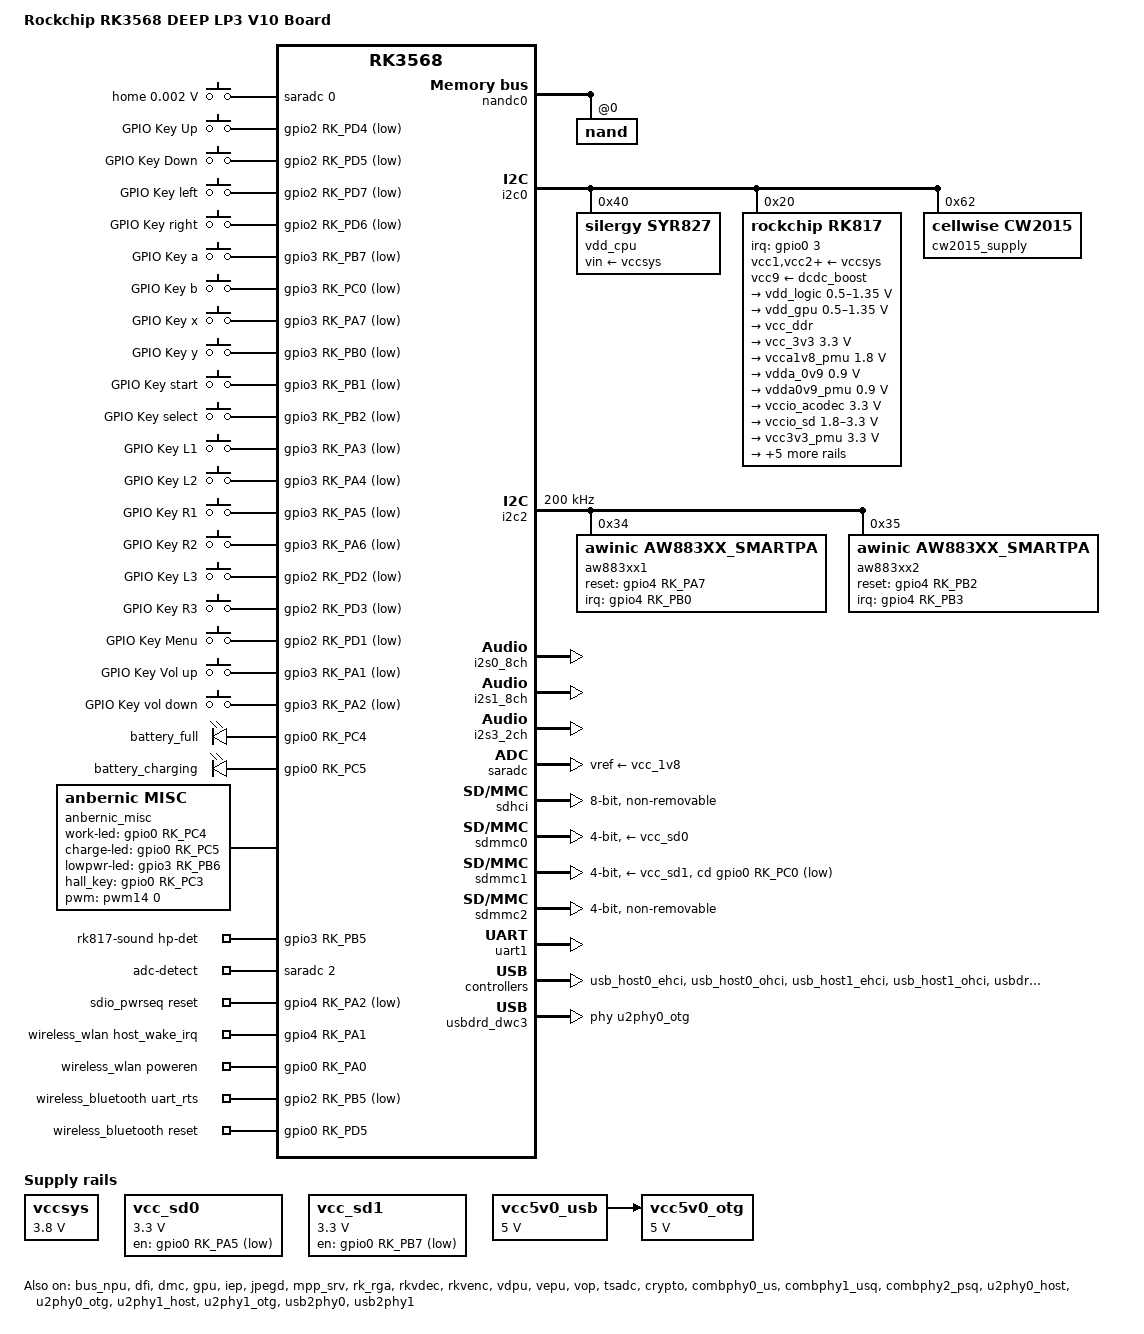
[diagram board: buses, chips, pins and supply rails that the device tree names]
// SPDX-License-Identifier: (GPL-2.0+ OR MIT)
/*
 * Copyright (c) 2026 Rockchip Electronics Co., Ltd.
 *
 */

/dts-v1/;

#include <dt-bindings/gpio/gpio.h>
#include <dt-bindings/pinctrl/rockchip.h>
#include <dt-bindings/input/rk-input.h>
#include <dt-bindings/sensor-dev.h>
#include <dt-bindings/display/drm_mipi_dsi.h>
#include "rk3568.dtsi"
#include "rk3568-linux.dtsi"
#include "rk3568-deep-rg_ds-2mipi.dtsi"
//#include "rk3568-evb.dtsi"

/ {
	model = "Rockchip RK3568 DEEP LP3 V10 Board";
	compatible = "rockchip,rk3568-deep-lp3-v10", "rockchip,rk3568";
	
	/* rewrite bootargs with rk3568-linux.dtsi
	   initcall_debug: 1-enable initcall module print
	*/
	chosen: chosen {
		bootargs = "loglevel=4 initcall_debug=0 earlycon=uart8250,mmio32,0xfe660000 console=ttyFIQ0 root=PARTUUID=614e0000-0000 rw rootwait";
	};
	
#if 0
	rk_headset: rk-headset {
		status = "disabled";  //user delay_work_poll at sound/soc/codec/rk817_codec
		compatible = "rockchip_headset";
		headset_gpio = <&gpio3 RK_PB5 GPIO_ACTIVE_LOW>;
		pinctrl-names = "default";
		pinctrl-0 = <&hp_det>;
	};
#endif

	adc_keys: adc-keys {
		//status = "disabled";
		compatible = "adc-keys";
		io-channels = <&saradc 0>;
		io-channel-names = "buttons";
		keyup-threshold-microvolt = <1800000>;
		poll-interval = <100>;

		vol-up-key {
			label = "home";
			linux,code = <KEY_BACK>;
			//linux,code = <KEY_ESC>; //KEY_F1
			press-threshold-microvolt = <1750>;
		};
	/*
		vol-down-key {
			label = "volume down";
			linux,code = <KEY_VOLUMEDOWN>;
			press-threshold-microvolt = <297500>;
		};
	*/	
	};
#if 0
	gpio_keys: gpio-keys {
		status = "okay";
		compatible = "gpio-keys";
		pinctrl-names = "default";
		pinctrl-0 = <&gpio_hall>;
		hall-key0 {
			wakeup-source;
			gpios = <&gpio0 RK_PC3 GPIO_ACTIVE_LOW>;
			linux,code = <KEY_F12>;
			label = "HALL status";
		};
	};
#endif
	
	gpio-keys-polled {
		compatible = "gpio-keys-polled";
		poll-interval = <20>;
		//autorepeat;

		label = "ANBERNIC-rk3568-keys";
		pinctrl-names = "default";
		pinctrl-0 = <&btn_pins>;

		//io-channel-names = "buttons";
		io-channels = <&saradc 3>;
		
		/* adc mux channel count */
		//amux-count = <4>;
		
		/* 74HC4052 ctrl */
		A1_gpio = <&gpio3 RK_PC2 GPIO_ACTIVE_HIGH>; /*default level*/
		A0_gpio = <&gpio3 RK_PC3 GPIO_ACTIVE_HIGH>;
		amux-en-gpios = <&gpio3 RK_PC1 GPIO_ACTIVE_LOW>;

		/* adc calculate scale */
		button-adc-scale = <1>;

		/* adc deadzone range  */
		//button-adc-deadzone = <640>;

		/*
		  specifies fuzz value that is used to filter noise from
		  the event stream.
		*/
		//button-adc-fuzz = <160>; //32
		button-adc-flat = <32>;

        //abs_x-p-tuning = <250>;
		//abs_x-n-tuning = <250>;
		
		//hall_key = <&gpio0 RK_PC3 GPIO_ACTIVE_HIGH>; //GPIO_ACTIVE_LOW

		keyUP {
			gpios = <&gpio2 RK_PD4 GPIO_ACTIVE_LOW>;
			label = "GPIO Key Up";
			linux,input-type = <EV_ABS>;
			linux,code = <ABS_HAT0Y>;
			linux,abs-value = <2>;
			//linux,input-value = <0xffffffff>; /* -1 */
		};
		keyDOWN {
			gpios = <&gpio2 RK_PD5 GPIO_ACTIVE_LOW>;
			label = "GPIO Key Down";
			linux,input-type = <EV_ABS>;
			linux,code = <ABS_HAT0Y>;
			linux,abs-value = <1>;
			//linux,input-value = <1>;
		};
		keyLeft {
			gpios = <&gpio2 RK_PD7 GPIO_ACTIVE_LOW>;
			label = "GPIO Key left";
			linux,input-type = <EV_ABS>;
			linux,code = <ABS_HAT0X>;
			linux,abs-value = <2>;
		};
		keyRight {
			gpios = <&gpio2 RK_PD6 GPIO_ACTIVE_LOW>;
			label = "GPIO Key right";
			linux,input-type = <EV_ABS>;
			linux,code = <ABS_HAT0X>;
			linux,abs-value = <1>;
		};
		
		keyA {
			gpios = <&gpio3 RK_PB7 GPIO_ACTIVE_LOW>;
			label = "GPIO Key a";
			linux,code = <304>;
			//debounce-interval = <10>;
		};
		keyB {
			gpios = <&gpio3 RK_PC0 GPIO_ACTIVE_LOW>;
			label = "GPIO Key b";
			linux,code = <305>;
		};
		keyX {
			gpios = <&gpio3 RK_PA7 GPIO_ACTIVE_LOW>;
			label = "GPIO Key x";
			linux,code = <307>;
		};
		keyY {
			gpios = <&gpio3 RK_PB0 GPIO_ACTIVE_LOW>;
			label = "GPIO Key y";
			linux,code = <306>;
		};
		
		keyStart {
			gpios = <&gpio3 RK_PB1 GPIO_ACTIVE_LOW>;
			label = "GPIO Key start";
			linux,code = <311>;
		};
		keySEl {
			gpios = <&gpio3 RK_PB2 GPIO_ACTIVE_LOW>;
			label = "GPIO Key select";
			linux,code = <310>;
		};
		
		keyL1 {
			gpios = <&gpio3 RK_PA3 GPIO_ACTIVE_LOW>;
			label = "GPIO Key L1";
			linux,code = <308>;
		};
		keyL2 {
			gpios = <&gpio3 RK_PA4 GPIO_ACTIVE_LOW>;
			label = "GPIO Key L2";
			linux,code = <314>;
		};
		keyR1 {
			gpios = <&gpio3 RK_PA5 GPIO_ACTIVE_LOW>;
			label = "GPIO Key R1";
			linux,code = <309>;
		};
		
		keyR2 {
			gpios = <&gpio3 RK_PA6 GPIO_ACTIVE_LOW>;
			label = "GPIO Key R2";
			linux,code = <315>;
		};
		
		keyL3 {
			gpios = <&gpio2 RK_PD2 GPIO_ACTIVE_LOW>;
			label = "GPIO Key L3";
			linux,code = <313>;
		};
		keyR3 {
			gpios = <&gpio2 RK_PD3 GPIO_ACTIVE_LOW>;
			label = "GPIO Key R3";
			linux,code = <316>;
		};
		keyMenu {
			gpios = <&gpio2 RK_PD1 GPIO_ACTIVE_LOW>;
			label = "GPIO Key Menu";
			linux,code = <312>;
		};
		
		keyVol+ {
			gpios = <&gpio3 RK_PA1 GPIO_ACTIVE_LOW>;
			label = "GPIO Key Vol up";
			linux,code = <115>;//78
		};
		
		keyvol- {
			gpios = <&gpio3 RK_PA2 GPIO_ACTIVE_LOW>;
			label = "GPIO Key vol down";
			linux,code = <114>; //74
		};
	};

	leds: gpio-leds {
		status = "okay";
#if 1 //allen for uboot
		compatible = "uboot-gpio-leds";
#else
        compatible = "gpio-leds";
		pinctrl-names = "default";
		pinctrl-0 =<&leds_gpio>;		
#endif

		work-led {
			gpios = <&gpio0 RK_PC4 GPIO_ACTIVE_HIGH>;
			label = "battery_full"; //uboot read the name
			default-state = "on";
			//linux,default-trigger = "battery-full";
			//retain-state-suspended; //keep state when os sleep
		};
		
		charge-led {
			gpios = <&gpio0 RK_PC5 GPIO_ACTIVE_HIGH>;
			label = "battery_charging"; //uboot read the name
			default-state = "off";
		//	linux,default-trigger = "battery-charging"; //use sh ctr led,so close trigger
			//retain-state-suspended; //keep state when os sleep 2026-0508 del
		};
	#if 0
		low-led {
			gpios = <&gpio3 RK_PB6 GPIO_ACTIVE_HIGH>;
			label = "battery_low";
			default-state = "off";
		//	linux,default-trigger = "timer"; //use sh ctr led,so close trigger
		//	linux,default-trigger = "heartbeat";
		};
	#endif
    };

	anbernic_misc {
		compatible   = "anbernic,misc";
		status       = "okay";
		pinctrl-names = "default";
		
	#if 1 //allen for uboot
		pinctrl-0 =<&leds_gpio &gpio_hall>;
		
		/* leds: gpio-leds need set  status = "disabled" */
		work-led-gpios   = <&gpio0 RK_PC4 GPIO_ACTIVE_HIGH>;
		charge-led-gpios = <&gpio0 RK_PC5 GPIO_ACTIVE_HIGH>;
		lowpwr-led-gpios = <&gpio3 RK_PB6 GPIO_ACTIVE_HIGH>;
	#else
		pinctrl-0 = <&gpio_hall>;
		
		/* gpio-leds don't add trigger */
		work-led-supply   = <&gpio0 RK_PC4 GPIO_ACTIVE_HIGH>;
		charge-led-supply = <&gpio0 RK_PC5 GPIO_ACTIVE_HIGH>;
		lowpwr-led-gpios  = <&gpio3 RK_PB6 GPIO_ACTIVE_HIGH>;
	#endif	
		//mcu_pwr_ctrl = <&pio PI 10 GPIO_ACTIVE_HIGH>;
		//rgb_led_pwr  = <&portb 4 GPIO_ACTIVE_HIGH>; /*gpio36*/
		
		hall_key = <&gpio0 RK_PC3 GPIO_ACTIVE_HIGH>; //GPIO_ACTIVE_LOW
		
		det_usb_supply = <&charger>;
		det_gauge0_supply = <&battery>;
		det_gauge1_supply = <&cw2015_supply>;
		
		pwms = <&pwm14 0 1000000 0>; /*moto: period in ns; fs=10^6/p (khz)*/
	}; 
	
	charge-animation {
		compatible = "rockchip,uboot-charge";
		rockchip,uboot-charge-on = <1>; /*1-enable uboot charge */
		rockchip,android-charge-on = <0>;
		rockchip,uboot-low-power-voltage = <3600>; //3350 force to charging,don't run os
		rockchip,screen-on-voltage = <3650>; //3400
    #if 1 //for charge led
		rockchip,auto-wakeup-interval = <300>; //second
		rockchip,auto-wakeup-screen-invert = <0>;
	#endif
		rockchip,uboot-exit-charge-level = <6>; // enable run os > 2%
		rockchip,uboot-exit-charge-voltage = <3750>; //3600 enable run os > 3.6v
		rockchip,uboot-exit-charge-auto = <0>;
		status = "okay";
	};

	hdmi_sound: hdmi-sound {
		compatible = "simple-audio-card";
		simple-audio-card,format = "i2s";
		simple-audio-card,mclk-fs = <128>;
		simple-audio-card,name = "rockchip,hdmi";
		status = "disabled";

		simple-audio-card,cpu {
				sound-dai = <&i2s0_8ch>;
		};
		simple-audio-card,codec {
				sound-dai = <&hdmi>;
		};
	};

	vccsys: vccsys {
		compatible = "regulator-fixed";
		regulator-name = "vcc3v8_sys";
		regulator-always-on;
		regulator-boot-on;
		regulator-min-microvolt = <3800000>;
		regulator-max-microvolt = <3800000>;
	};
#if 0
	vcc_wifi: vcc-wifi {
		compatible = "regulator-fixed";
		enable-active-high;
		regulator-always-on;
		regulator-boot-on;		
		enable-gpio = <&gpio0 RK_PA0 GPIO_ACTIVE_HIGH>;
		regulator-min-microvolt = <3300000>;
		regulator-max-microvolt = <3300000>;
		states = <3300000 0x0
			3300000 0x1>;
		pinctrl-names = "default";
		pinctrl-0 = <&vcc_wifi_h>;
		regulator-name = "vcc_wifi";
	};
//#else	
    //vcc_wifi or WIFI,poweren_gpio 2 select 1
	vcc_wifi: vcc-wifi {
		compatible = "regulator-fixed";
		regulator-name = "vcc_wifi";
		//pinctrl-names = "default";
		//pinctrl-0 = <&vcc_wifi_h>;
		gpio = <&gpio0 RK_PA0 GPIO_ACTIVE_HIGH>;
		enable-active-high;
		regulator-boot-on;
		regulator-state-mem {
			//regulator-off-in-suspend;
			regulator-on-in-suspend;
		};
	};
#endif

#if 0 //for xa8603
	vcc_tp: vcc-tp {
		compatible = "regulator-fixed";
		regulator-name = "vcc_tp";
		//pinctrl-names = "default"; //close this,if no note use vcc_tp 
		//pinctrl-0 = <&vcc_tp_en>;
		gpio = <&gpio0 RK_PC6 GPIO_ACTIVE_HIGH>;
		enable-active-high;
		regulator-boot-on;
		regulator-always-on;
		regulator-state-mem {
			//regulator-off-in-suspend;
			regulator-on-in-suspend;
		};
	};
#endif
	
	rk817-sound {
		//status = "disabled";
		status = "okay";
#if 1 //new
		compatible = "rockchip,multicodecs-card";
		rockchip,card-name = "rockchip-rk817";
		hp-jack-enable = <0>; //pulseaudio
		hp-det-gpio = <&gpio3 RK_PB5 GPIO_ACTIVE_HIGH>;//hp-det-gpios 2 select 1
		io-channels = <&saradc 2>;
		io-channel-names = "adc-detect";
		keyup-threshold-microvolt = <1800000>;
		poll-interval = <100>;
		rockchip,format = "i2s";
		rockchip,mclk-fs = <256>;
		rockchip,cpu = <&i2s1_8ch>;
		rockchip,codec = <&rk817_codec>;
		pinctrl-names = "default";
		pinctrl-0 = <&hp_det>;
		play-pause-key {
			label = "playpause";
			linux,code = <KEY_PLAYPAUSE>;
			press-threshold-microvolt = <2000>;
		};
#else //No audio output,why?
		pinctrl-names = "default";
		pinctrl-0 = <&hp_det>;
		compatible = "simple-audio-card";
        simple-audio-card,format = "i2s";
        simple-audio-card,name = "rockchip,rk817-codec";
        simple-audio-card,mclk-fs = <256>;
		simple-audio-card,cpu {
                sound-dai = <&i2s1_8ch>;
        };
        simple-audio-card,codec {
                sound-dai = <&rk817_codec>;
        };
#endif
	};

	aw883xx_sound: aw883x-sound {
		status = "okay";
		compatible = "rockchip,multicodecs-card";
		rockchip,card-name = "rockchipaw883xx";
		rockchip,format = "i2s";
		rockchip,mclk-fs = <256>;
		rockchip,cpu = <&i2s3_2ch>;
		rockchip,codec = <&aw883xx1 &aw883xx2>;
    };
	

	//vibrator {
	//	compatible = "rk-vibrator-gpio";
	//	vibrator-gpio = <&gpio3 RK_PC4 GPIO_ACTIVE_HIGH>;
	//	status = "okay";
	//};
	
	sdio_pwrseq: sdio-pwrseq {
		compatible = "mmc-pwrseq-simple";
//		clocks = <&rk817 1>; //20260113 del
//		clock-names = "ext_clock"; //20260113 del
		pinctrl-names = "default";
		pinctrl-0 = <&wifi_enable_h>; //->WIFI_REG_ON_H

		/*
		 * On the module itself this is one of these (depending
		 * on the actual card populated):
		 * - SDIO_RESET_L_WL_REG_ON
		 * - PDN (power down when low)
		 */
		post-power-on-delay-ms = <200>;
		reset-gpios = <&gpio4 RK_PA2 GPIO_ACTIVE_LOW>;
	};

	vcc_sd0: vcc-sd0 {
		compatible = "regulator-gpio";
		enable-active-low;
		enable-gpio = <&gpio0 RK_PA5 GPIO_ACTIVE_LOW>;
		regulator-min-microvolt = <3300000>;
		regulator-max-microvolt = <3300000>;
		pinctrl-names = "default";
		pinctrl-0 = <&vcc_sd0_h>;
		regulator-name = "vcc_sd0";
		states = <3300000 0x0
			3300000 0x1>;
		regulator-boot-on;
		regulator-always-on;
	};
	
#if 0 //sleep don't off
	vcc_sd1: vcc-sd1 {
		compatible = "regulator-fixed";
		enable-active-low;
		enable-gpio = <&gpio0 RK_PB7 GPIO_ACTIVE_LOW>;
		pinctrl-names = "default";
		pinctrl-0 = <&vcc_sd1_h>;
		regulator-name = "vcc_sd1";
		regulator-min-microvolt = <3300000>;
		regulator-max-microvolt = <3300000>;
		startup-delay-us = <100000>;
		vin-supply = <&vccsys>;
	};
#else
	vcc_sd1: vcc-sd1 {
		compatible = "regulator-gpio";
		enable-active-low;
		enable-gpio = <&gpio0 RK_PB7 GPIO_ACTIVE_LOW>;
		regulator-min-microvolt = <3300000>;
		regulator-max-microvolt = <3300000>;
		
		pinctrl-names = "default";
		pinctrl-0 = <&vcc_sd1_h>;
		regulator-name = "vcc_sd1";
		
		states = <3300000 0x0
			3300000 0x1>;
	};
#endif

	wireless_wlan: wireless-wlan {
		compatible = "wlan-platdata";
		rockchip,grf = <&grf>;
		wifi_chip_type = "ap6330";
		pinctrl-names = "default"; //20260113 add start
		pinctrl-0 = <&wifi_host_wake_irq>;
		WIFI,host_wake_irq = <&gpio4 RK_PA1 GPIO_ACTIVE_HIGH>;
		WIFI,poweren_gpio = <&gpio0 RK_PA0 GPIO_ACTIVE_HIGH>; /* suspend:set 0,resume set 1 */
		keep_wifi_power_on; //->wifi_power_remain=1 20260113 add end
		status = "okay";
	};

	wireless_bluetooth: wireless-bluetooth {
		compatible = "bluetooth-platdata";
		bt_port = "/dev/ttyS1";
		clocks = <&rk817 1>;
		clock-names = "ext_clock";
		//wifi-bt-power-toggle;
		uart_rts_gpios = <&gpio2 RK_PB5 GPIO_ACTIVE_LOW>;
		pinctrl-names = "default", "rts_gpio";
		pinctrl-0 = <&uart1m1_rtsn>;
		pinctrl-1 = <&uart1_gpios>;
		BT,reset_gpio    = <&gpio0 RK_PD5 GPIO_ACTIVE_HIGH>;
		//BT,wake_gpio     = <&gpio0 RK_PD3 GPIO_ACTIVE_HIGH>;
		//BT,wake_host_irq = <&gpio0 RK_PD4 GPIO_ACTIVE_HIGH>;
		status = "okay";
		//status = "disabled";
	};

	vcc5v0_usb: vcc5v0-usb {
		compatible = "regulator-fixed";
		regulator-name = "vcc5v0_usb";
		regulator-always-on;
		regulator-boot-on;
		regulator-min-microvolt = <5000000>;
		regulator-max-microvolt = <5000000>;
	//	vin-supply = <&vcc12v_dcin>;
	};
	
	vcc5v0_otg: vcc5v0-otg-regulator {
		compatible = "regulator-fixed";
		regulator-name = "vcc5v0_otg";
		regulator-min-microvolt = <5000000>;
		regulator-max-microvolt = <5000000>;
		enable-active-high;
	//	gpio = <&gpio3 RK_PB7 GPIO_ACTIVE_HIGH>;
		vin-supply = <&vcc5v0_usb>;
	//	pinctrl-names = "default";
	//	pinctrl-0 = <&vcc5v0_otg_en>;
	};
};

&bus_npu {
	bus-supply = <&vdd_logic>;
	pvtm-supply = <&vdd_cpu>;
	status = "okay";
};

&cpu0 {
	cpu-supply = <&vdd_cpu>;
};

&dfi {
	status = "okay";
};

&dmc {
	center-supply = <&vdd_logic>;
	status = "okay";
};

&gpu {
	mali-supply = <&vdd_gpu>;
	status = "okay";
};

&iep {
	status = "okay";
};

&iep_mmu {
	status = "okay";
};

&jpegd {
	status = "okay";
};

&jpegd_mmu {
	status = "okay";
};

&mpp_srv {
	status = "okay";
};

//&sfc {
//	status = "okay";
//};

&nandc0 {
	#address-cells = <1>;
	#size-cells = <0>;
	status = "okay";

	nand@0 {
		reg = <0>;
		nand-bus-width = <8>;
		nand-ecc-mode = "hw";
		nand-ecc-strength = <16>;
		nand-ecc-step-size = <1024>;
	};
};

&rk_rga {
	status = "okay";
};

&rkvdec {
	status = "okay";
};

&rkvdec_mmu {
	status = "okay";
};

&rkvenc {
	//venc-supply = <&vdd_logic>;
	status = "okay";
};

&rkvenc_mmu {
	status = "okay";
};
#if 0
&rknpu {
	rknpu-supply = <&vdd_gpu>;
	status = "okay";
};

&rknpu_mmu {
	status = "okay";
};
#endif

&vdpu {
	status = "okay";
};

&vdpu_mmu {
	status = "okay";
};

&vepu {
	status = "okay";
};

&vepu_mmu {
	status = "okay";
};

&vop {
	status = "okay";
	assigned-clocks = <&cru DCLK_VOP0>, <&cru DCLK_VOP1>;
	assigned-clock-parents = <&pmucru PLL_HPLL>, <&cru PLL_VPLL>;
	vop-supply = <&vdd_logic>;
};

&vop_mmu {
	status = "okay";
};

&i2c0 {
	status = "okay";
#if 1//allen
	vdd_cpu: sti8070a@40 {
		compatible = "silergy,syr827";
		reg = <0x40>;
		vin-supply = <&vccsys>;
		regulator-compatible = "fan53555-reg";
		regulator-name = "vdd_cpu";
		regulator-min-microvolt = <712500>;
		regulator-max-microvolt = <1390000>;
		regulator-init-microvolt = <1000000>;
		regulator-ramp-delay = <2300>;
		fcs,suspend-voltage-selector = <1>; //0->1
		//regulator-initial-mode = <0x2>;
		regulator-boot-on;
		regulator-always-on;
		regulator-state-mem {
		#if 1
			regulator-off-in-suspend;
		#else
			regulator-on-in-suspend;
			regulator-suspend-microvolt = <1100000>;
			regulator-changeable-in-suspend;
		#endif
		};
	};
#else
	vdd_cpu: STI8070A@40 {
		compatible = "tmi,sti8070a";//"silergy,syr827";
		reg = <0x40>;
		vin-supply = <&vccsys>;
		regulator-compatible = "fan53555-reg";
		regulator-name = "vdd_cpu";
		regulator-min-microvolt = <712500>;//datesheet mini=0.72v,cpu_vdd hight,so set 0.7125
		regulator-max-microvolt = <1500000>;
		regulator-init-microvolt = <900000>;
		regulator-ramp-delay = <1000>;
		fcs,suspend-voltage-selector = <1>;//at sleep vsel pin=1,set 1(0: VSEL0 register, 1: VSEL1 register)
		regulator-boot-on;
		regulator-always-on;
		regulator-state-mem {
			regulator-off-in-suspend;
		};
	};
#endif

	rk817: pmic@20 {
		compatible = "rockchip,rk817";
		reg = <0x20>;
		interrupt-parent = <&gpio0>;
		interrupts = <3 IRQ_TYPE_LEVEL_LOW>;

		pinctrl-names = "default", "pmic-sleep",
				"pmic-power-off", "pmic-reset";
		pinctrl-0 = <&pmic_int>;
		pinctrl-1 = <&soc_slppin_slp>, <&rk817_slppin_slp>;
		pinctrl-2 = <&soc_slppin_gpio>, <&rk817_slppin_pwrdn>;
		pinctrl-3 = <&soc_slppin_gpio>, <&rk817_slppin_rst>;
		
		rockchip,system-power-controller;
		wakeup-source;
		#clock-cells = <1>;
		clock-output-names = "rk808-clkout1", "rk808-clkout2";
		//fb-inner-reg-idxs = <2>;
		/* 1: rst regs (default in codes), 0: rst the pmic */
		pmic-reset-func = <0>;
		/* not save the PMIC_POWER_EN register in uboot */
		not-save-power-en = <1>;
		vcc1-supply = <&vccsys>;
		vcc2-supply = <&vccsys>;
		vcc3-supply = <&vccsys>;
		vcc4-supply = <&vccsys>;
		vcc5-supply = <&vccsys>;
		vcc6-supply = <&vccsys>;
		vcc7-supply = <&vccsys>;
		vcc8-supply = <&vccsys>;
		vcc9-supply = <&dcdc_boost>;

		pwrkey {
			status = "okay";
		};

		pinctrl_rk8xx: pinctrl_rk8xx {
			gpio-controller;
			#gpio-cells = <2>;

			rk817_slppin_null: rk817_slppin_null {
				pins = "gpio_slp";
				function = "pin_fun0";
			};

			rk817_slppin_slp: rk817_slppin_slp {
				pins = "gpio_slp";
				function = "pin_fun1";
			};

			rk817_slppin_pwrdn: rk817_slppin_pwrdn {
				pins = "gpio_slp";
				function = "pin_fun2";
			};

			rk817_slppin_rst: rk817_slppin_rst {
				pins = "gpio_slp";
				function = "pin_fun3";
			};
		};

		regulators {
			vdd_logic: DCDC_REG1 {
				regulator-always-on;
				regulator-boot-on;
				regulator-min-microvolt = <500000>;
				regulator-max-microvolt = <1350000>;
				regulator-init-microvolt = <900000>;
				regulator-ramp-delay = <6001>;
				regulator-initial-mode = <0x2>;
				regulator-name = "vdd_logic";
				regulator-state-mem {
					regulator-off-in-suspend;
					regulator-suspend-microvolt = <900000>;
				};
			};

			vdd_gpu: DCDC_REG2 {
				regulator-always-on;
				regulator-boot-on;
				regulator-min-microvolt = <500000>;
				regulator-max-microvolt = <1350000>;
				regulator-init-microvolt = <900000>;
				regulator-ramp-delay = <6001>;
				regulator-initial-mode = <0x2>;
				regulator-name = "vdd_gpu";
				regulator-state-mem {
					regulator-off-in-suspend;
				};
			};

			vcc_ddr: DCDC_REG3 {
				regulator-always-on;
				regulator-boot-on;
				regulator-initial-mode = <0x2>;
				regulator-name = "vcc_ddr";
				regulator-state-mem {
					regulator-on-in-suspend;
				};
			};

			vcc_3v3: DCDC_REG4 {
				regulator-always-on;
				regulator-boot-on;
				regulator-min-microvolt = <3300000>;
				regulator-max-microvolt = <3300000>;
				regulator-initial-mode = <0x2>;
				regulator-name = "vcc_3v3";
				regulator-state-mem {
					regulator-on-in-suspend;
					regulator-suspend-microvolt = <3300000>;
				};
			};

			vcca1v8_pmu: LDO_REG1 {
				regulator-always-on;
				regulator-boot-on;
				regulator-min-microvolt = <1800000>;
				regulator-max-microvolt = <1800000>;
				regulator-name = "vcca1v8_pmu";
				regulator-state-mem {
					regulator-on-in-suspend;
					regulator-suspend-microvolt = <1800000>;
				};
			};

			vdda_0v9: LDO_REG2 {
				regulator-always-on;
				regulator-boot-on;
				regulator-min-microvolt = <900000>;
				regulator-max-microvolt = <900000>;
				regulator-name = "vdda_0v9";
				regulator-state-mem {
					regulator-off-in-suspend;
				};
			};

			vdda0v9_pmu: LDO_REG3 {
				regulator-always-on;
				regulator-boot-on;
				regulator-min-microvolt = <900000>;
				regulator-max-microvolt = <900000>;
				regulator-name = "vdda0v9_pmu";
				regulator-state-mem {
					regulator-on-in-suspend;
					regulator-suspend-microvolt = <900000>;
				};
			};

			vccio_acodec: LDO_REG4 {
				regulator-always-on;
				regulator-boot-on;
				regulator-min-microvolt = <3300000>;
				regulator-max-microvolt = <3300000>;
				regulator-name = "vccio_acodec";
				regulator-state-mem {
					regulator-off-in-suspend;
				};
			};

			vccio_sd: LDO_REG5 {
				regulator-always-on;
				regulator-boot-on;
				regulator-min-microvolt = <1800000>;
				regulator-max-microvolt = <3300000>;
				regulator-name = "vccio_sd";
				regulator-state-mem {
					regulator-off-in-suspend;
				};
			};

			vcc3v3_pmu: LDO_REG6 {
				regulator-always-on;
				regulator-boot-on;
				regulator-min-microvolt = <3300000>;
				regulator-max-microvolt = <3300000>;
				regulator-name = "vcc3v3_pmu";
				regulator-state-mem {
					regulator-on-in-suspend;
					regulator-suspend-microvolt = <3000000>;
				};
			};

			vcc_1v8: LDO_REG7 {
				regulator-always-on;
				regulator-boot-on;
				regulator-min-microvolt = <1800000>;
				regulator-max-microvolt = <1800000>;
				regulator-name = "vcc_1v8";
				regulator-state-mem {
					regulator-on-in-suspend;
				};
			};

			vcc1v8_dvp: LDO_REG8 {
				regulator-always-on;
				regulator-boot-on;
				regulator-min-microvolt = <1800000>;
				regulator-max-microvolt = <3300000>;
				regulator-name = "vcc1v8_dvp";
				regulator-state-mem {
					regulator-off-in-suspend;
				};
			};

			vcc2v8_dvp: LDO_REG9 {
				regulator-always-on;
				regulator-boot-on;
				regulator-min-microvolt = <2800000>;
				regulator-max-microvolt = <2800000>;
				regulator-name = "vcc2v8_dvp";
				regulator-state-mem {
					regulator-off-in-suspend;
				};
			};

			dcdc_boost: BOOST {
				regulator-always-on;
				regulator-boot-on;
				regulator-min-microvolt = <5000000>;
				regulator-max-microvolt = <5000000>;
				regulator-name = "boost";
				regulator-state-mem {
					regulator-off-in-suspend;
				};
			};

			otg_switch: OTG_SWITCH {
				regulator-name = "otg_switch";
				regulator-state-mem {
					regulator-off-in-suspend;
				};
			};
		};

		simple_battery: simple-battery {
			compatible = "simple-battery";
			charge-full-design-microamp-hours = <2500000>;//uah
			precharge-current-microamp = <180000>;
			precharge-upper-limit-microvolt = <3600000>;
			charge-term-current-microamp = <300000>;
			constant-charge-current-max-microamp = <10000000>;
			constant-charge-voltage-max-microvolt = <4350000>;
			factory-internal-resistance-micro-ohms = <80>;
			voltage-max-design-microvolt = <4350000>;
			voltage-min-design-microvolt = <3000000>;
		};

		battery:battery {
			compatible = "rk817,battery";
	#if 1 //old
			ocv_table = <3400 3663 3677 3707 3731 3749 3761 3772 3786
                         3803 3826 3861 3908 3947 3978 4039 4083 4136
                         4191 4251 4338>;
			bat_res = <69>;//69 100R
	#else
			ocv_table = <3560 3672 3694 3719 3743 3760 3776 3791 3806
                         3823 3845 3873 3908 3946 3991 4039 4087 4138
                         4193 4254 4330>;
			bat_res = <105>;//69 100R
	#endif
			design_capacity = <4247>;
			design_qmax = <4247>;//5500 design_capacity*1.1
			sleep_enter_current = <300>; //150
			sleep_exit_current = <300>; //180
			sleep_filter_current = <100>;
			power_off_thresd = <3400>; //3500->vsys,don't vbat
			zero_algorithm_vol = <3950>;//4.2v bat-3850 4.3v-3950
			max_soc_offset = <60>;
			monitor_sec = <5>; //poll time:5s
			sample_res = <10>;//10R
			virtual_power = <0>;
		    status = "okay";
		};

		charger:charger {
			compatible = "rk817,charger";
			min_input_voltage = <4500>;
			max_input_current = <3000>;	/* ROCKNIX parity (was 1500); needs a 5V/3A+ charger */
			max_chrg_current = <3500>;	/* ROCKNIX parity (was 2000); RK817 hardware max */
			max_chrg_voltage = <4400>;//4350-4.35v
			sample_res = <10>;//10R
			otg5v_suspend_enable = <1>;
			chrg_term_mode = <1>;
			chrg_finish_cur = <100>; //200
			virtual_power = <0>;
			dc_det_adc = <0>;//1-check dc in/out
			extcon = <&usb2phy0>; //close then otg no power
			//gate_function_disable = <1>;
			status = "okay";
		};

		rk817_codec: codec {
			#sound-dai-cells = <0>;
			compatible = "rockchip,rk817-codec";
			clocks = <&cru I2S1_MCLKOUT>;
			clock-names = "mclk";
			assigned-clocks = <&cru I2S1_MCLKOUT>, <&cru I2S1_MCLK_TX_IOE>;
			assigned-clock-rates = <12288000>;
			assigned-clock-parents = <&cru I2S1_MCLKOUT_TX>, <&cru I2S1_MCLKOUT_TX>;
			pinctrl-names = "default";
			pinctrl-0 = <&i2s1m0_mclk>;
			hp-volume = <23>;
			spk-volume = <16>; //0:0db 255:-95db 10:-3.75db (0.375db/step)
			mic-in-differential;
			use-ext-amplifier;
			//out-l2spk-r2hp;
			//hp-det-gpios = <&gpio3 RK_PB5 GPIO_ACTIVE_HIGH>; //GPIO_ACTIVE_LOW
			//io-channels = <&saradc 2>;
			//io-channel-names = "adc-detect";
			//keyup-threshold-microvolt = <1800000>;
			//poll-interval = <100>;
		
			//spk-ctl-gpios = <&gpio3 RK_PB3 GPIO_ACTIVE_HIGH>;
			status = "okay";
		};
	};
	
	cw2015_supply:cw2015@62 { 

		compatible = "cellwise,cw2015";
		reg = <0x62>;
#if 0 //old
		cellwise,battery-profile = /bits/ 8
				<0x17 0x67 0x81 0x6F 0x69 0x65 0x63 0x54
				 0x75 0x50 0x57 0x56 0x4E 0x4F 0x44 0x35
				 0x2C 0x24 0x1E 0x1B 0x24 0x32 0x41 0x4D
				 0x1C 0x57 0x0B 0x85 0x34 0x54 0x59 0x6D
				 0x85 0x81 0x81 0x84 0x3C 0x1B 0x6C 0x6C
				 0x0B 0x41 0x1C 0x4D 0x80 0x95 0xA0 0x14
				 0x38 0x7E 0x98 0xA3 0x80 0x89 0x97 0xCB
				 0x2F 0x00 0x64 0xA5 0xB5 0xC1 0x46 0xAE>;
#else
		cellwise,battery-profile = /bits/ 8
				<0x17 0x67 0x80 0x6E 0x68 0x64 0x61 0x55
				 0x71 0x53 0x54 0x56 0x4F 0x4E 0x46 0x38
				 0x2D 0x25 0x20 0x1B 0x20 0x29 0x3B 0x49
				 0x3A 0x15 0x0D 0x91 0x3E 0x5F 0x5E 0x76
				 0x80 0x7D 0x80 0x81 0x3B 0x1A 0x6C 0x6C
				 0x0B 0x41 0x1C 0x4D 0x80 0x95 0xA0 0x14
				 0x38 0x7E 0x98 0xA3 0x80 0x8A 0x9D 0xCB
				 0x2F 0x00 0x64 0xA5 0xB5 0xC1 0x46 0xAE>;
#endif				 
		cellwise,monitor-interval-ms = <3000>; //5000
		cellwise,battery_cap = <4247>; //-> design_capacity
		monitored-battery = <&simple_battery>;
		battery_id = <0>;
		status = "okay";
	};
#if 0	
	xa8601_0: xa8601-0@48 {
		compatible = "Torch,xa8601_ts";
		reg = <0x48>;
		touch-gpio = <&gpio0 RK_PA6 1>; //tp_irq
		max-x = <1024>;
		max-y = <768>;
		pinctrl-names = "default";
		pinctrl-0 = <&touch0_xa8601_gpio>;
		status = "okay"; //"disabled";
		//rockchip,panel-notifier = <&dsi0_panel>;
	};

	deeplay@3c {
		compatible = "deeplay,umido";
		reg = <0x3c>;
		//pinctrl-names = "default";
		status = "okay";
	};
#endif
};

&i2c2 {
	status = "okay";
	pinctrl-0 = <&i2c2m1_xfer>;

	clock-frequency = <200000>; //allen add,default 100khz
	i2c-scl-rising-time-ns = <144>;
	i2c-scl-falling-time-ns = <4>;

	aw883xx1:aw883xx_smartpa@34 {
		compatible = "awinic,aw883xx_smartpa";
		#sound-dai-cells = <0>;
		reg = <0x34>;
		reset-gpio= <&gpio4 RK_PA7 0>; 
		irq-gpio= <&gpio4 RK_PB0 0>;
		
		//sync-load = <1>; //ko need this
		
		re-min = <1000>;
		re-max = <40000>;
		sound-channel = <0>;
		
		clocks = <&cru I2S3_MCLKOUT_TX>;
		clock-names = "mclk";
		assigned-clocks = <&cru CLK_I2S3_2CH_TX>;
		assigned-clock-rates = <12288000>;
		pinctrl-names = "default";
		pinctrl-0 = <&i2s3m1_mclk>;
	};

	aw883xx2:aw883xx_smartpa@35 {
		compatible = "awinic,aw883xx_smartpa";
		#sound-dai-cells = <0>;
		reg = <0x35>;
		reset-gpio= <&gpio4 RK_PB2 0>; 
		irq-gpio= <&gpio4 RK_PB3 0>; 
		
		//sync-load = <1>; //ko need this
		
		re-min = <1000>; 
		re-max = <40000>;
		sound-channel = <1>;
		clocks = <&cru I2S3_MCLKOUT_TX>;
		clock-names = "mclk";
		assigned-clocks = <&cru CLK_I2S3_2CH_TX>;
		assigned-clock-rates = <12288000>;
 	};

	aw87391_pa_l: aw87391@58 {
		compatible = "aw,aw87391-left";
		reg = <0x58>;
		status = "disabled";
	};
	aw87391_pa_r: aw87391@5b {
		compatible = "aw,aw87391-right";
		reg = <0x5b>;
		status = "disabled";
	};

	icm42607_acc: icm_acc@68 {
		//status = "okay";
		status = "disabled";
		compatible = "icm42607_acc";
		reg = <0x68>;
		irq-gpio = <&gpio0 RK_PD6 IRQ_TYPE_EDGE_RISING>;
		irq_enable = <0>;
		poll_delay_ms = <30>;
		type = <SENSOR_TYPE_ACCEL>;
		layout = <5>;
	};

	icm42607_gyro: icm_gyro@68 {
		//status = "okay";
		status = "disabled";
		compatible = "icm42607_gyro";
		reg = <0x68>;
		poll_delay_ms = <30>;
		type = <SENSOR_TYPE_GYROSCOPE>;
		layout = <5>;
	};

#if 0
	hynitron: hynitron@5a {
		compatible = "hyn,3240";
		reg = <0x5a>;
		/*
		 * power-supply should switche to vcc3v3_lcd1_n
		 * when mipi panel is connected to dsi1.
		 */
		power-supply = <&vcc3v3_lcd_n>;

		pinctrl-names = "ts_active","ts_suspend";
		pinctrl-0 = <&ts_int_active &ts_reset_active>;
		pinctrl-1 = <&ts_int_suspend &ts_reset_suspend>;

		reset-gpios = <&gpio0 RK_PB0 GPIO_ACTIVE_HIGH>;
		irq-gpios = <&gpio0 RK_PA7 GPIO_ACTIVE_LOW>;

		max-touch-number = <5>;
		display-coords = <0 0 1080 1920>;
		pos-swap = <0>;
		posx-reverse = <0>;
		posy-reverse = <0>;
	};
#endif
};

&i2s0_8ch {
	status = "okay";
};

&i2s1_8ch {
	status = "okay";
	rockchip,trcm-sync-tx-only;
	pinctrl-names = "default";
	pinctrl-0 = <&i2s1m0_sclktx
		     &i2s1m0_lrcktx
		     &i2s1m0_sdi0
		     &i2s1m0_sdo0>;
};

&i2s3_2ch {
	status = "okay";
	rockchip,always-on;
	rockchip,trcm-sync-tx-only;
	i2s-lrck-gpio = <&gpio4 RK_PC4 GPIO_ACTIVE_HIGH>; /* i2s3m1_lrck */
	pinctrl-names = "default";
	pinctrl-0 = <&i2s3m1_sclk
		     &i2s3m1_lrck  
		     &i2s3m1_sdi
		     &i2s3m1_sdo>;
};

&pinctrl {
	headphone {
		hp_det: hp-det {
			rockchip,pins = <3 RK_PB5 RK_FUNC_GPIO &pcfg_pull_none>; //hp_det
		};
	};
/*	
	tp {
		touch0_xa8601_gpio: touch0-xa8601-gpio {
			rockchip,pins = <0 RK_PA6 RK_FUNC_GPIO &pcfg_pull_up>;		
		};

		vcc_tp_en: vcc-tp-en {
			rockchip,pins = <0 RK_PC6 RK_FUNC_GPIO &pcfg_pull_none>;				
		};			
	};
*/	
	pmic {
		pmic_int: pmic_int {
			rockchip,pins =
				<0 RK_PA3 RK_FUNC_GPIO &pcfg_pull_up>;
		};

		soc_slppin_gpio: soc_slppin_gpio {
			rockchip,pins =
				<0 RK_PA2 RK_FUNC_GPIO &pcfg_output_low>; //pcfg_output_low_pull_down
		};

		soc_slppin_slp: soc_slppin_slp {
			rockchip,pins =
				<0 RK_PA2 1 &pcfg_pull_none>;
		};

		soc_slppin_rst: soc_slppin_rst {
			rockchip,pins =
				<0 RK_PA2 2 &pcfg_pull_none>;
		};
	};

	sensor {
		sensor_gpio: sensor-gpio {
			rockchip,pins = <0 RK_PD6 RK_FUNC_GPIO &pcfg_pull_none>;
		};
	};

	sdio-pwrseq {
		wifi_enable_h: wifi-enable-h {
			rockchip,pins = <4 RK_PA2 RK_FUNC_GPIO &pcfg_pull_none>;
		};
	};

	vcc_sd {
		vcc_sd0_h: vcc-sd0-h {
			rockchip,pins = <0 RK_PA5 RK_FUNC_GPIO &pcfg_pull_none>;
		};
		
		vcc_sd1_h: vcc-sd1-h {
			rockchip,pins = <0 RK_PB7 RK_FUNC_GPIO &pcfg_pull_none>;
		};
	};

	power-wlan-bt {
		vcc_wifi_h: vcc-wifi-h {
			rockchip,pins = <0 RK_PA0 RK_FUNC_GPIO &pcfg_pull_none>;
		};
	};
	wireless-wlan {
		wifi_host_wake_irq: wifi-host-wake-irq {
			rockchip,pins = <4 RK_PA1 RK_FUNC_GPIO &pcfg_pull_down>;
		};
	};

	wireless-bluetooth {
		uart1_gpios: uart1-gpios {
			rockchip,pins = <4 RK_PB6 RK_FUNC_GPIO &pcfg_pull_none>;
		};
	};
	
	gpio-leds {
		leds_gpio: leds-gpio {
			rockchip,pins =
					<0 RK_PC4 RK_FUNC_GPIO &pcfg_pull_none>,
					<0 RK_PC5 RK_FUNC_GPIO &pcfg_pull_none>,
					<3 RK_PB6 RK_FUNC_GPIO &pcfg_pull_none>;
		};
	};

	btns {
		btn_pins: btn-pins {
			rockchip,pins = 
					<2 RK_PD1 RK_FUNC_GPIO &pcfg_pull_up>,
					<2 RK_PD2 RK_FUNC_GPIO &pcfg_pull_up>,
					<2 RK_PD3 RK_FUNC_GPIO &pcfg_pull_up>,
					<2 RK_PD4 RK_FUNC_GPIO &pcfg_pull_up>,
					<2 RK_PD5 RK_FUNC_GPIO &pcfg_pull_up>,
					<2 RK_PD6 RK_FUNC_GPIO &pcfg_pull_up>,
					<2 RK_PD7 RK_FUNC_GPIO &pcfg_pull_up>,
					<3 RK_PA1 RK_FUNC_GPIO &pcfg_pull_up>,
					<3 RK_PA2 RK_FUNC_GPIO &pcfg_pull_up>,
					<3 RK_PA3 RK_FUNC_GPIO &pcfg_pull_up>,
					<3 RK_PA4 RK_FUNC_GPIO &pcfg_pull_up>,
					<3 RK_PA5 RK_FUNC_GPIO &pcfg_pull_up>,
					<3 RK_PA6 RK_FUNC_GPIO &pcfg_pull_up>,
					<3 RK_PA7 RK_FUNC_GPIO &pcfg_pull_up>,
					<3 RK_PB0 RK_FUNC_GPIO &pcfg_pull_up>,
					<3 RK_PB1 RK_FUNC_GPIO &pcfg_pull_up>,
					<3 RK_PB2 RK_FUNC_GPIO &pcfg_pull_up>,
					<3 RK_PB7 RK_FUNC_GPIO &pcfg_pull_up>,
					<3 RK_PC0 RK_FUNC_GPIO &pcfg_pull_up>,
					<3 RK_PC1 RK_FUNC_GPIO &pcfg_pull_up>,
					<3 RK_PC2 RK_FUNC_GPIO &pcfg_pull_up>,
					<3 RK_PC3 RK_FUNC_GPIO &pcfg_pull_up>;
		};
	};

	halls {
			gpio_hall: gpio-hall {
				rockchip,pins = 
					<0 RK_PC3 RK_FUNC_GPIO &pcfg_pull_down>; //pcfg_pull_up
			};
	};
};

&pmu_io_domains {
	status = "okay";
	/*pmuio0-> 1.8v, xout24M  */
	/*vccio2-> VCCIO_FLASH  hardware set */
	pmuio1-supply = <&vcc3v3_pmu>; //->VCC3V3_PMU fix
	pmuio2-supply = <&vcc3v3_pmu>; //->VCCIO_PMUIO2
	vccio1-supply = <&vccio_acodec>; //->VCCIO_ACODEC
	vccio3-supply = <&vccio_sd>;//sdmmc0
	vccio4-supply = <&vcc1v8_dvp>;//sdmmc1
	vccio5-supply = <&vcc_3v3>;
	vccio6-supply = <&vcc_1v8>;//vcc_3v3
	vccio7-supply = <&vcc_1v8>;//vcc_3v3
};

&saradc {
	status = "okay";
	vref-supply = <&vcc_1v8>;
};

#if 1
/* emmc */
&sdhci {
	bus-width = <8>;
	supports-emmc;
	no-sdio;
	no-sd;
	non-removable;
	max-frequency = <200000000>;
	status = "okay";
};
#else
&sdhci {
	bus-width = <8>;
	no-sdio;
	no-sd;
	non-removable;
	max-frequency = <200000000>;
	mmc-hs400-1_8v;
	mmc-hs400-enhanced-strobe;
	full-pwr-cycle-in-suspend;
	status = "okay";
};
#endif

&sdmmc0 {
	max-frequency = <150000000>;	//GammaOS: UHS-I SDR104 on boot SD (was capped 50MHz)
	//max-frequency = <50000000>;	//GammaOS: raised to SDR104 150MHz above
	supports-sd;
	no-sdio;
	no-mmc;
	bus-width = <4>;
	cap-mmc-highspeed;
	cap-sd-highspeed;
	disable-wp;
//    keep-power-in-suspend;
//    card-detect-delay = <800>;
    
	sd-uhs-sdr12;
	sd-uhs-sdr25;
	sd-uhs-sdr50;
	sd-uhs-sdr104;
	vmmc-supply = <&vcc_sd0>;    //sd vdd
	vqmmc-supply = <&vccio_sd>;  //sd io,VOLTAGE 1.8V--3.3V
	pinctrl-names = "default";
	pinctrl-0 = <&sdmmc0_bus4 &sdmmc0_clk &sdmmc0_cmd &sdmmc0_det>;
//	cd-gpios = <&gpio0 RK_PA4 GPIO_ACTIVE_LOW>;
	status = "okay";
};

//sd or TF
&sdmmc1 {
	max-frequency = <150000000>;
	//max-frequency = <50000000>;
	supports-sd;
	no-sdio;
	no-mmc;
	bus-width = <4>;
	cap-mmc-highspeed;
	cap-sd-highspeed;
	disable-wp;
//    keep-power-in-suspend;
    card-detect-delay = <1200>;
	sd-uhs-sdr12;
	sd-uhs-sdr25;
	sd-uhs-sdr50;
	sd-uhs-sdr104;
	vmmc-supply = <&vcc_sd1>;      //sd vdd
	vqmmc-supply = <&vcc1v8_dvp>;  //sd io,VOLTAGE 1.8V--3.3V

	pinctrl-names = "default";
//	pinctrl-0 = <&sdmmc1_bus4 &sdmmc1_clk &sdmmc1_cmd &sdmmc1_det>;
	pinctrl-0 = <&sdmmc1_bus4 &sdmmc1_clk &sdmmc1_cmd>;
	cd-gpios = <&gpio0 RK_PC0 GPIO_ACTIVE_LOW>;
	status = "okay";
};

/* sdio wifi */
&sdmmc2 {
	max-frequency = <150000000>; //100000000 
	no-sd;
	no-mmc;
	bus-width = <4>;
	disable-wp;
	cap-sd-highspeed;
	cap-sdio-irq;
	keep-power-in-suspend;
	mmc-pwrseq = <&sdio_pwrseq>;
	non-removable;
	pinctrl-names = "default";
	pinctrl-0 = <&sdmmc2m0_bus4 &sdmmc2m0_cmd &sdmmc2m0_clk>;
	sd-uhs-sdr12;
	sd-uhs-sdr25;
	sd-uhs-sdr50;
	sd-uhs-sdr104;
	rockchip,default-sample-phase = <90>;
	status = "okay";
};

&tsadc {
	status = "okay";
};

&uart1 {
	status = "okay";
	pinctrl-names = "default";
	pinctrl-0 = <&uart1m1_xfer &uart1m1_ctsn>;
};

&crypto {
	status = "okay";
};

&combphy0_us {
	status = "okay";
};

&combphy1_usq {
	status = "okay";
};

&combphy2_psq {
	status = "okay";
};

&u2phy0_host {
//	phy-supply = <&vcc5v0_host>;
	status = "okay";
};

&u2phy0_otg {
	vbus-supply = <&vcc5v0_otg>;
	status = "okay";
};

&u2phy1_host {
//	phy-supply = <&vcc5v0_host>;
	status = "okay";
};

&u2phy1_otg {
//	phy-supply = <&vcc5v0_host>;
	status = "okay";
};

&usb2phy0 {
	status = "okay";
};

&usb2phy1 {
	status = "okay";
};

&usb_host0_ehci {
	status = "okay";
};

&usb_host0_ohci {
	status = "okay";
};

&usb_host1_ehci {
	status = "okay";
};

&usb_host1_ohci {
	status = "okay";
};

&usbdrd_dwc3 {
	phys = <&u2phy0_otg>;
	phy-names = "usb2-phy";
	extcon = <&usb2phy0>;
	maximum-speed = "high-speed";
	snps,dis_u2_susphy_quirk;
	snps,usb2-lpm-disable;
	status = "okay";
	
	//dr_mode = "host";
};

&usbdrd30 {
	status = "okay";
};

&usbhost_dwc3 {
	status = "disabled";
};

&usbhost30 {
	status = "disabled";//"okay";
};
